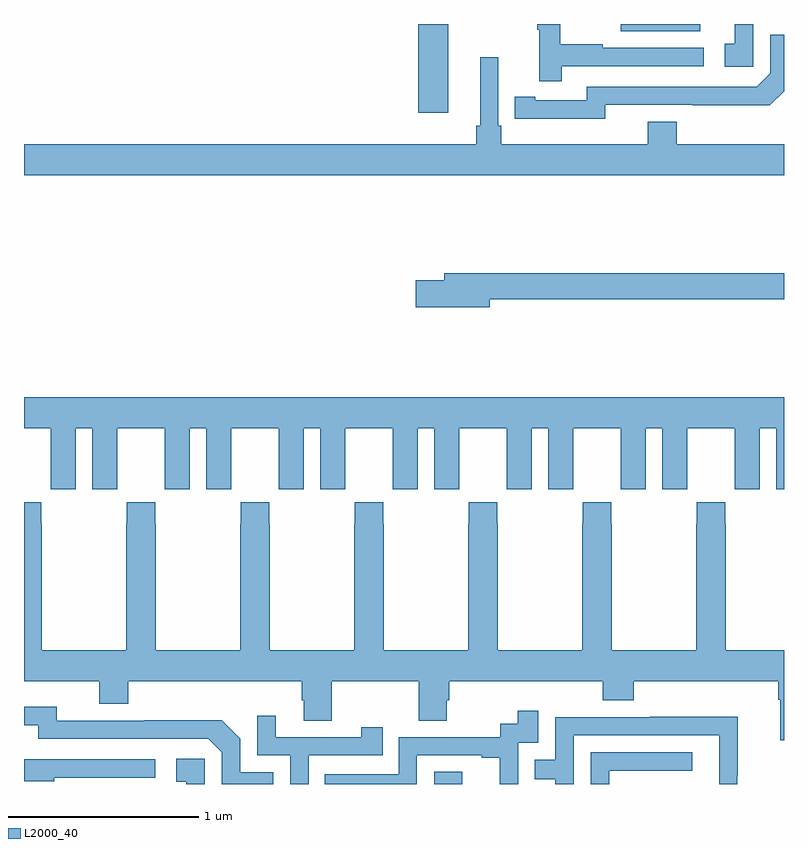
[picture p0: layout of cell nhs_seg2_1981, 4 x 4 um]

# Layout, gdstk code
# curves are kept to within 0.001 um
import gdstk
lib = gdstk.Library(unit=1e-6, precision=1e-09)
def R(c, l, rs):  # rectangles x0, y0, x1, y1
    for r in rs: c.add(gdstk.rectangle(r[:2], r[2:], *l))
def P(c, l, *ps):  # polygons
    for p in ps: c.add(gdstk.Polygon(p, *l))
L2000_40 = (2000, 40)

nhs_seg2_1981 = lib.new_cell('nhs_seg2_1981')
R(nhs_seg2_1981, L2000_40, [(217.158,609.8,217.306,609.865), (217.076,613.332,217.234,613.8), (218.141,613.763,218.56,613.8)])
P(nhs_seg2_1981, L2000_40, [(218.838,613.8),(218.741,613.8),(218.741,613.695),(218.688,613.695),(218.688,613.575),(218.838,613.575)],
  [(217.829,613.578),(218.578,613.578),(218.578,613.674),(218.045,613.674),(218.045,613.694),(217.822,613.694),(217.822,613.8),(217.701,613.8),(217.701,613.771),(217.712,613.771),(217.712,613.5),(217.829,613.5)],
  [(218.058,613.374),(218.926,613.373),(219,613.446),(219,613.743),(218.928,613.743),(218.928,613.542),(218.856,613.47),(217.962,613.47),(217.962,613.398),(217.69,613.398),(217.69,613.418),(217.582,613.418),(217.582,613.302),(218.058,613.301)],
  [(219,613.168),(218.435,613.168),(218.435,613.285),(218.282,613.285),(218.282,613.168),(217.511,613.168),(217.511,613.264),(217.497,613.264),(217.497,613.624),(217.4,613.624),(217.4,613.264),(217.381,613.264),(217.381,613.168),(215,613.168),(215,613.004),(219,613.004)],
  [(217.45,612.352),(219,612.352),(219,612.488),(217.211,612.488),(217.211,612.452),(217.062,612.452),(217.062,612.31),(217.45,612.31)],
  [(215,611.672),(215.141,611.672),(215.141,611.464),(215.142,611.464),(215.142,611.352),(215.272,611.352),(215.272,611.672),(215.36,611.672),(215.36,611.352),(215.49,611.352),(215.49,611.464),(215.491,611.464),(215.491,611.672),(215.741,611.672),(215.741,611.464),(215.742,611.464),(215.742,611.352),(215.872,611.352),(215.872,611.672),(215.96,611.672),(215.96,611.352),(216.09,611.352),(216.09,611.464),(216.091,611.464),(216.091,611.672),(216.341,611.672),(216.341,611.464),(216.342,611.464),(216.342,611.352),(216.472,611.352),(216.472,611.672),(216.56,611.672),(216.56,611.352),(216.69,611.352),(216.69,611.464),(216.691,611.464),(216.691,611.672),(216.941,611.672),(216.941,611.464),(216.942,611.464),(216.942,611.352),(217.072,611.352),(217.072,611.672),(217.16,611.672),(217.16,611.352),(217.29,611.352),(217.29,611.464),(217.291,611.464),(217.291,611.672),(217.541,611.672),(217.541,611.464),(217.542,611.464),(217.542,611.352),(217.672,611.352),(217.672,611.672),(217.76,611.672),(217.76,611.352),(217.89,611.352),(217.89,611.464),(217.891,611.464),(217.891,611.672),(218.141,611.672),(218.141,611.464),(218.142,611.464),(218.142,611.352),(218.272,611.352),(218.272,611.672),(218.36,611.672),(218.36,611.352),(218.49,611.352),(218.49,611.464),(218.491,611.464),(218.491,611.672),(218.741,611.672),(218.741,611.464),(218.742,611.464),(218.742,611.352),(218.872,611.352),(218.872,611.672),(218.96,611.672),(218.96,611.352),(219,611.352),(219,611.836),(215,611.836)],
  [(218.094,611.171),(218.091,611.171),(218.091,611.284),(217.941,611.284),(217.941,611.171),(217.939,611.171),(217.939,610.504),(217.494,610.504),(217.494,611.171),(217.491,611.171),(217.491,611.284),(217.341,611.284),(217.341,611.171),(217.339,611.171),(217.339,610.504),(216.894,610.504),(216.894,611.171),(216.891,611.171),(216.891,611.284),(216.741,611.284),(216.741,611.171),(216.739,611.171),(216.739,610.504),(216.294,610.504),(216.294,611.171),(216.291,611.171),(216.291,611.284),(216.141,611.284),(216.141,611.171),(216.139,611.171),(216.139,610.504),(215.694,610.504),(215.694,611.171),(215.691,611.171),(215.691,611.284),(215.541,611.284),(215.541,611.171),(215.539,611.171),(215.539,610.504),(215.094,610.504),(215.094,611.171),(215.091,611.171),(215.091,611.284),(215,611.284),(215,610.34),(215.396,610.34),(215.396,610.223),(215.549,610.223),(215.549,610.34),(216.461,610.34),(216.461,610.242),(216.473,610.242),(216.473,610.132),(216.621,610.132),(216.621,610.34),(217.078,610.34),(217.078,610.132),(217.225,610.132),(217.225,610.242),(217.238,610.242),(217.238,610.34),(218.045,610.34),(218.045,610.241),(218.21,610.241),(218.21,610.34),(218.969,610.34),(218.969,610.244),(218.981,610.244),(218.981,610.031),(219,610.031),(219,610.504),(218.694,610.504),(218.694,611.171),(218.691,611.171),(218.691,611.284),(218.541,611.284),(218.541,611.171),(218.539,611.171),(218.539,610.504),(218.094,610.504)],
  [(216.312,609.861),(216.138,609.861),(216.138,610.038),(216.04,610.136),(215.632,610.136),(215.632,610.134),(215.172,610.134),(215.172,610.207),(215,610.207),(215,610.11),(215.076,610.11),(215.076,610.038),(215.97,610.038),(216.042,609.966),(216.042,609.8),(216.312,609.8)],
  [(217.068,609.951),(217.409,609.951),(217.409,609.939),(217.505,609.939),(217.505,609.8),(217.602,609.8),(217.602,610.017),(217.707,610.017),(217.707,610.186),(217.599,610.186),(217.599,610.116),(217.506,610.116),(217.506,610.047),(216.972,610.047),(216.972,609.852),(216.583,609.852),(216.583,609.8),(217.068,609.8)],
  [(216.498,609.951),(216.887,609.951),(216.887,610.099),(216.776,610.099),(216.776,610.047),(216.325,610.047),(216.325,610.159),(216.228,610.159),(216.228,609.951),(216.402,609.951),(216.402,609.8),(216.498,609.8)],
  [(217.893,610.056),(218.658,610.056),(218.658,609.8),(218.754,609.8),(218.754,609.847),(218.757,609.847),(218.757,610.154),(218.293,610.154),(218.293,610.152),(217.797,610.152),(217.797,609.927),(217.687,609.927),(217.687,609.826),(217.797,609.826),(217.797,609.8),(217.893,609.8)],
  [(218.079,609.87),(218.518,609.87),(218.518,609.966),(217.983,609.966),(217.983,609.8),(218.079,609.8)],
  [(215.952,609.934),(215.802,609.934),(215.802,609.813),(215.855,609.813),(215.855,609.8),(215.952,609.8)],
  [(215.159,609.834),(215.692,609.834),(215.692,609.93),(215,609.93),(215,609.814),(215.159,609.814)])

lib.write_gds('nhs_seg2_1981.gds')
